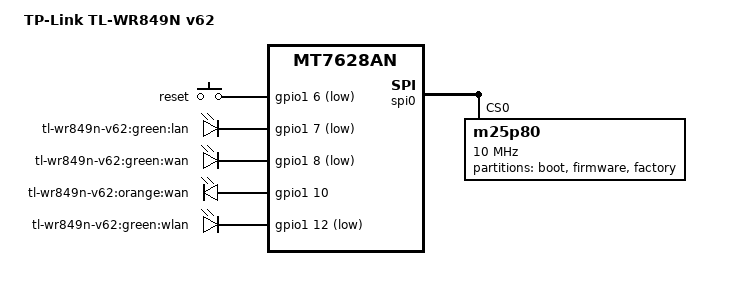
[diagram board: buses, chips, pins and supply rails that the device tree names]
/dts-v1/;

#include "TPLINK-4M.dtsi"

#include <dt-bindings/gpio/gpio.h>
#include <dt-bindings/input/input.h>

/ {
	compatible = "tplink,tl-wr849n-v62", "mediatek,mt7628an-soc";
	model = "TP-Link TL-WR849N v62";

	aliases {
		led-boot = &led_power;
		led-failsafe = &led_power;
		led-running = &led_power;
		led-upgrade = &led_power;
	};

	keys {
		compatible = "gpio-keys-polled";
		poll-interval = <20>;

		reset {
			label = "reset";
			gpios = <&gpio1 6 GPIO_ACTIVE_LOW>;
			linux,code = <KEY_RESTART>;
		};
	};
	gpio-leds {
		compatible = "gpio-leds";

		lan {
			label = "tl-wr849n-v62:green:lan";
			gpios = <&gpio1 7 GPIO_ACTIVE_LOW>;
		};

		led_power: wan {
			label = "tl-wr849n-v62:green:wan";
			gpios = <&gpio1 8 GPIO_ACTIVE_LOW>;
		};

		wan_orange {
			label = "tl-wr849n-v62:orange:wan";
			gpios = <&gpio1 10 GPIO_ACTIVE_HIGH>;
		};

		wlan {
			label = "tl-wr849n-v62:green:wlan";
			gpios = <&gpio1 12 GPIO_ACTIVE_LOW>;
		};
	};
};

&spi0 {
	status = "okay";

	m25p80@0 {
		#compatible = "jedec,spi-nor";
		reg = <0>;
		spi-max-frequency = <10000000>;

		partitions {
			compatible = "fixed-partitions";
			#address-cells = <1>;
			#size-cells = <1>;

			partition@0 {
				label = "boot";
				reg = <0x0 0x10000>;
				read-only;
			};

			partition@10000 {
				compatible = "tplink,firmware";
				label = "firmware";
				reg = <0x10000 0x3e0000>;
			};

			factory: partition@3f0000 {
				label = "factory";
				reg = <0x3f0000 0x10000>;
				read-only;
			};
		};
	};
};

&esw {
	mediatek,portmap = <0x3e>;
};

&pinctrl {
	state_default: pinctrl0 {
		gpio {
			ralink,group = "p0led_an", "p2led_an", "p3led_an", "p4led_an", "perst";
			ralink,function = "gpio";
		};
	};
};
